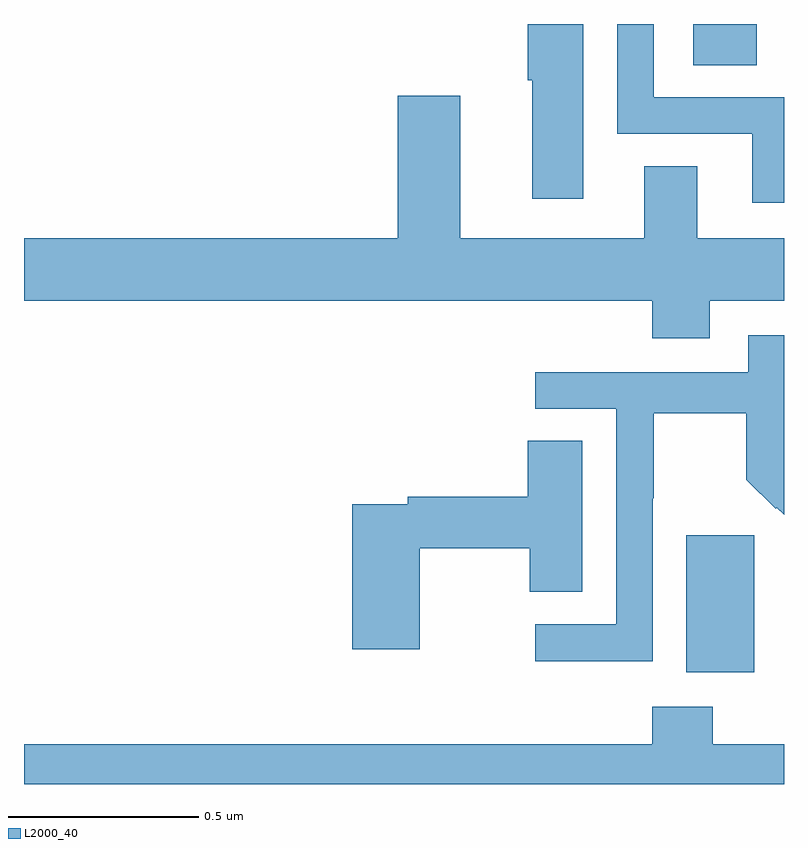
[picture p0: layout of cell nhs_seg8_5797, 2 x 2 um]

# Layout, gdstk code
import gdstk
lib = gdstk.Library(unit=1e-6, precision=1e-09)
def R(c, l, rs):  # rectangles x0, y0, x1, y1
    for r in rs: c.add(gdstk.rectangle(r[:2], r[2:], *l))
def P(c, l, *ps):  # polygons
    for p in ps: c.add(gdstk.Polygon(p, *l))
L2000_40 = (2000, 40)

nhs_seg8_5797 = lib.new_cell('nhs_seg8_5797')
R(nhs_seg8_5797, L2000_40, [(189.743,1110.194,189.922,1110.555), (189.761,1111.792,189.928,1111.9)])
P(nhs_seg8_5797, L2000_40, [(190,1111.707),(189.657,1111.707),(189.657,1111.9),(189.561,1111.9),(189.561,1111.611),(189.917,1111.611),(189.917,1111.43),(190,1111.43)],
  [(189.472,1111.9),(189.326,1111.9),(189.326,1111.752),(189.338,1111.752),(189.338,1111.44),(189.472,1111.44)],
  [(189.632,1111.336),(189.148,1111.336),(189.148,1111.711),(188.984,1111.711),(188.984,1111.336),(188,1111.336),(188,1111.172),(189.653,1111.172),(189.653,1111.073),(189.805,1111.073),(189.805,1111.172),(190,1111.172),(190,1111.336),(189.772,1111.336),(189.772,1111.526),(189.632,1111.526)],
  [(189.654,1110.652),(189.657,1110.652),(189.657,1110.876),(189.901,1110.876),(189.901,1110.701),(189.978,1110.624),(189.981,1110.627),(190,1110.608),(190,1111.081),(189.906,1111.081),(189.906,1110.984),(189.345,1110.984),(189.345,1110.888),(189.558,1110.888),(189.558,1110.321),(189.345,1110.321),(189.345,1110.223),(189.654,1110.223)],
  [(189.042,1110.52),(189.331,1110.52),(189.331,1110.406),(189.469,1110.406),(189.469,1110.803),(189.326,1110.803),(189.326,1110.656),(189.01,1110.656),(189.01,1110.636),(188.864,1110.636),(188.864,1110.255),(189.042,1110.255)],
  [(190,1110.004),(189.813,1110.004),(189.813,1110.103),(189.653,1110.103),(189.653,1110.004),(188,1110.004),(188,1109.9),(190,1109.9)])

lib.write_gds('nhs_seg8_5797.gds')
